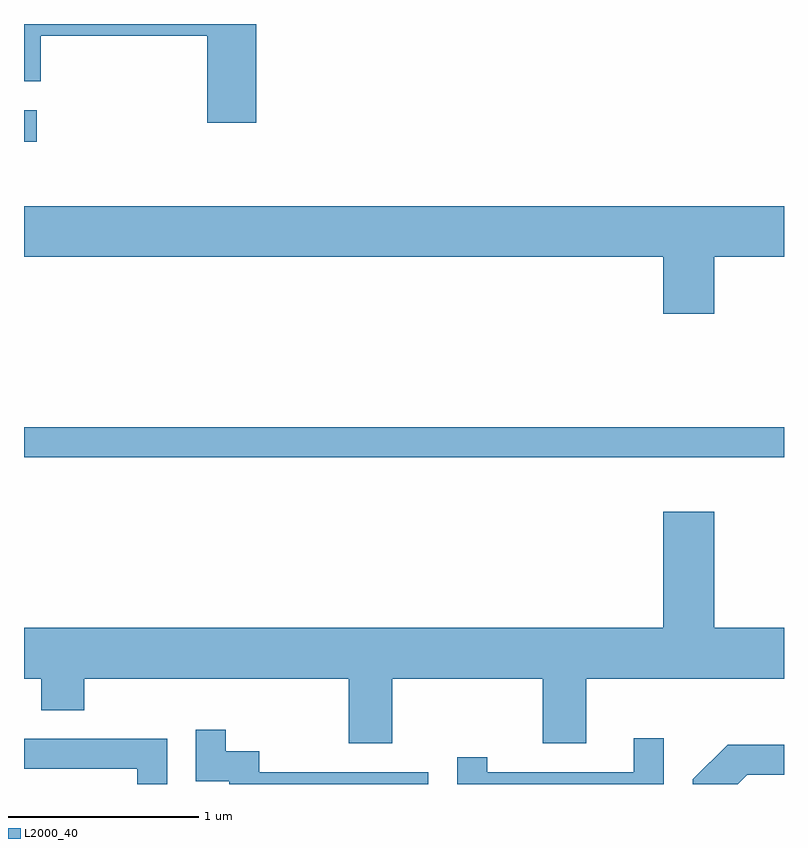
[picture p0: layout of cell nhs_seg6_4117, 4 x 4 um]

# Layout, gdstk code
import gdstk
lib = gdstk.Library(unit=1e-6, precision=1e-09)
def R(c, l, rs):  # rectangles x0, y0, x1, y1
    for r in rs: c.add(gdstk.rectangle(r[:2], r[2:], *l))
def P(c, l, *ps):  # polygons
    for p in ps: c.add(gdstk.Polygon(p, *l))
L2000_40 = (2000, 40)

nhs_seg6_4117 = lib.new_cell('nhs_seg6_4117')
R(nhs_seg6_4117, L2000_40, [(311.611,1537.881,315.611,1538.039), (311.611,1539.541,311.678,1539.709)])
P(nhs_seg6_4117, L2000_40, [(312.834,1540.162),(311.611,1540.162),(311.611,1539.861),(311.699,1539.861),(311.699,1540.101),(312.576,1540.101),(312.576,1539.641),(312.834,1539.641)],
  [(315.244,1538.936),(315.611,1538.936),(315.611,1539.204),(311.611,1539.204),(311.611,1538.936),(314.976,1538.936),(314.976,1538.636),(315.244,1538.636)],
  [(313.549,1536.716),(314.341,1536.716),(314.341,1536.376),(314.569,1536.376),(314.569,1536.716),(315.611,1536.716),(315.611,1536.984),(315.244,1536.984),(315.244,1537.594),(314.976,1537.594),(314.976,1536.984),(311.611,1536.984),(311.611,1536.716),(311.701,1536.716),(311.701,1536.551),(311.929,1536.551),(311.929,1536.716),(313.321,1536.716),(313.321,1536.376),(313.549,1536.376)],
  [(313.739,1536.224),(312.849,1536.224),(312.849,1536.334),(312.674,1536.334),(312.674,1536.448),(312.516,1536.448),(312.516,1536.176),(312.691,1536.176),(312.691,1536.162),(313.739,1536.162)],
  [(314.979,1536.403),(314.821,1536.403),(314.821,1536.224),(314.049,1536.224),(314.049,1536.303),(313.891,1536.303),(313.891,1536.162),(314.979,1536.162)],
  [(312.364,1536.399),(311.611,1536.399),(311.611,1536.241),(312.206,1536.241),(312.206,1536.162),(312.364,1536.162)],
  [(315.417,1536.211),(315.611,1536.211),(315.611,1536.369),(315.314,1536.369),(315.131,1536.187),(315.131,1536.162),(315.368,1536.162)])

lib.write_gds('nhs_seg6_4117.gds')
